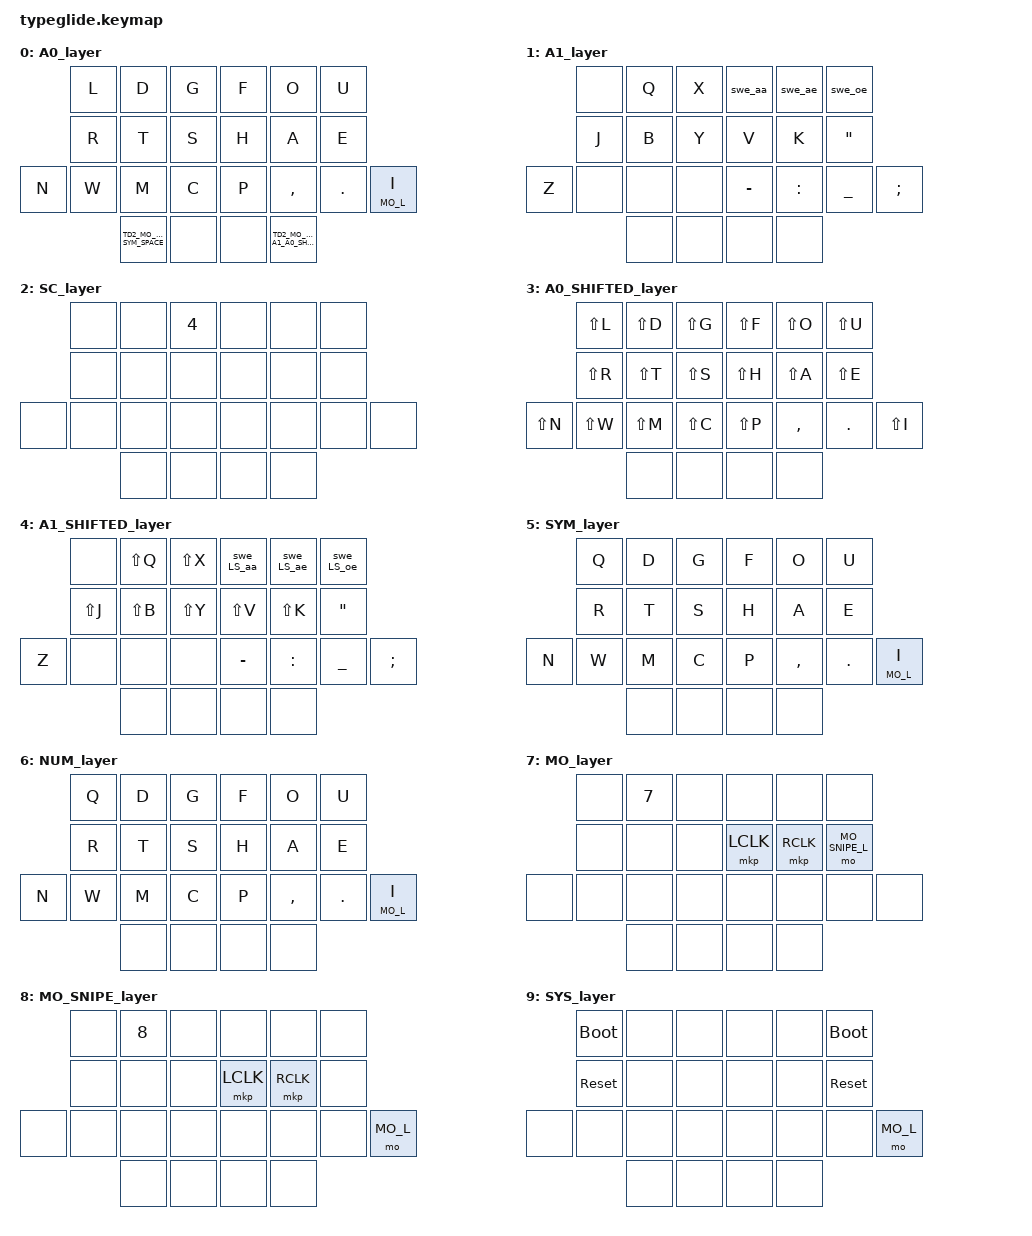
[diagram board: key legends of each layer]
#include <behaviors.dtsi>
#include <dt-bindings/zmk/keys.h>
#include <dt-bindings/zmk/pointing.h>
#include <behaviors/caps_word.dtsi>
#include <keymap_defs.dtsi>


#define RALTKEY(name, key)                                      \
    name: name {                                                \
        compatible = "zmk,behavior-macro";                     \
        #binding-cells = <0>;                                  \
        bindings =                                               \
            <&macro_press &kp RALT>,                            \
            <&macro_tap &kp key>,                              \
            <&macro_release &kp RALT>;                         \
    };


#define COMBO(name, pos0, pos1, behavior, ...) \
    name { \
        timeout-ms = <50>; \
        key-positions = <pos0 pos1>; \
        layers = <__VA_ARGS__>; \
        bindings = <behavior>; \
    };

#define COMBO3(name, pos0, pos1, pos2, t, behavior, ...) \
    name { \
        timeout-ms = <t>; \
        key-positions = <pos0 pos1 pos2>; \
        layers = <__VA_ARGS__>; \
        bindings = <behavior>; \
    };

#define HOLD_TAP(name, flavor_, tap_term, bind0, bind1) \
    name: name { \
        compatible = "zmk,behavior-hold-tap"; \
        #binding-cells = <2>; \
        flavor = flavor_; \
        tapping-term-ms = <tap_term>; \
        bindings = bind0, bind1; \
    };

#define TAP_DANCE2_MO_SL_SL(name, l0, l1, l2) \
    name: name { \
        compatible = "zmk,behavior-tap-dance"; \
        #binding-cells = <0>; \
        tapping-term-ms = <200>; \
        bindings = <&HT_MO_SL_BAL l0 l1>, \
                   <&sl l2>; \
    };

#define TAP_DANCE2_MO_KP_REPEAT(name, layer, key) \
    name: name { \
        compatible = "zmk,behavior-tap-dance"; \
        #binding-cells = <0>; \
        tapping-term-ms = <200>; \
        bindings = <&HT_MO_KP_BAL layer key>, \
                   <&key_repeat>; \
    };

/ {

 //          SIDE:L(left)/R(right)
 //          ROW:T(top)/M(middle)/B(bottom)/M(mouse)
 //          FINGER:P(pinky)/R(ring)/M(middle)/I(index)/T(Thumb)
 //          LOCATION:S(switch)/J(Joystick)
 //
 //          FINGER POS: SIDE-ROW-FINGER
 //          THUMB POS:  SIDE-LOCATION-FINGER
 //
 //          bindings = <
 //               LTR    LTM    LTI                            RTI    RTM   RTR
 //               LMR    LMM    LMI                            RMI    RMM   RMR
 //          LBP  LBR    LBM    LBI                            RBI    RBM   RBR   RBP
 //                             LST      LJT         RJT       RST



    behaviors {

        TPHLS: TPHLS {
            compatible = "zmk,behavior-hold-tap";
            #binding-cells = <2>;
            flavor = "balanced";
            tapping-term-ms = <200>;
            bindings = <&mo>, <&sl>;
        };



        HOLD_TAP(HT_KP_KP_BAL, "balanced", 200, <&kp>, <&kp>)
        HOLD_TAP(HT_MO_SL_BAL, "balanced", 200, <&mo>, <&sl>)
        HOLD_TAP(HT_MO_KP_BAL, "balanced", 200, <&mo>, <&kp>)

        TAP_DANCE2_MO_SL_SL(TD2_MO_SL_SL_SYM_A1_A0_SHIFTED, SYM_L, A1_L, A0_SHIFTED_L)
        TAP_DANCE2_MO_KP_REPEAT(TD2_MO_KP_REPEAT_SYM_SPACE, SYM_L, SPACE)

        tg_caps_word_or_scroll: tg_caps_word_or_scroll {
            compatible = "typeglide,caps-word-or-scroll";
            #binding-cells = <0>;

            bindings = <&msc SCRL_RIGHT>, <&caps_word>;
            mods = <(MOD_LSFT | MOD_RSFT)>;
            timeout-ms = <300>;
        };
    };



    macros {
        RALTKEY(swe_aa, W)
        RALTKEY(swe_ae, A)
        RALTKEY(swe_oe, O)
        RALTKEY(swe_LS_aa, LS(W))
        RALTKEY(swe_LS_ae, LS(A))
        RALTKEY(swe_LS_oe, LS(O))
    };

    combos {
        compatible = "zmk,combos";

        COMBO(_backspace, RMM, RMR, &kp BACKSPACE, A0_L)

        COMBO3(_bootloader_left, LTM, LBR, LBI, 100, &tog SYS_L, ALL_L)

    };

    keymap {
        compatible = "zmk,keymap";


// ------------------------------------------LEFT-------------------------------------------------------<>-----------------------------------------------RIGHT-----------------------------------------------------------------
// Pinky                    Ring                        Middle                      Index               <>      Index                       Middle                      Ring                        Pinky
//------------------------------------------------------------------------------------------------------<>----------------------------------------------------------------------------------------------------------------------
        // 0
        A0_layer {
            bindings = <
                            &kp L                       &kp D                       &kp G                       &kp F                       &kp O                       &kp U
                            &kp R                       &kp T                       &kp S                       &kp H                       &kp A                       &kp E
&kp N                       &kp W                       &kp M                       &kp C                       &kp P                       &kp COMMA                   &kp DOT                     &lt MO_L I
                                                        &TD2_MO_KP_REPEAT_SYM_SPACE &none                       &none                       &TD2_MO_SL_SL_SYM_A1_A0_SHIFTED
            >;
        };

        // 1
        A1_layer {
            bindings = <
                            &none                       &kp Q                       &kp X                       &swe_aa                     &swe_ae                     &swe_oe
                            &kp J                       &kp B                       &kp Y                       &kp V                       &kp K                       &kp DQT
&kp Z                       &none                       &none                       &none                       &kp MINUS                   &kp COLON                   &kp UNDER                   &kp SEMI
                                                        &none                       &none                       &none                       &none
            >;
        };

        // 2
        SC_layer {
            bindings = <
                &none &none &kp N4       &none &none &none
                &none &none &none        &none &none &none
          &none &none &none &none        &none &none &none &none
                      &none &none        &none &none
            >;
        };

        // 3
        A0_SHIFTED_layer {
            bindings = <
                            &kp LS(L)                   &kp LS(D)                   &kp LS(G)                   &kp LS(F)                   &kp LS(O)                   &kp LS(U)
                            &kp LS(R)                   &kp LS(T)                   &kp LS(S)                   &kp LS(H)                   &kp LS(A)                   &kp LS(E)
&kp LS(N)                   &kp LS(W)                   &kp LS(M)                   &kp LS(C)                   &kp LS(P)                   &kp COMMA                   &kp DOT                     &kp LS(I)
                                                        &none                       &none                       &none                       &none
            >;
        };

        // 4
        A1_SHIFTED_layer {
            bindings = <
                            &none                       &kp LS(Q)                   &kp LS(X)                   &swe_LS_aa                  &swe_LS_ae                  &swe_LS_oe
                            &kp LS(J)                   &kp LS(B)                   &kp LS(Y)                   &kp LS(V)                   &kp LS(K)                   &kp DQT
&kp Z                       &none                       &none                       &none                       &kp MINUS                   &kp COLON                   &kp UNDER                   &kp SEMI
                                                        &none                       &none                       &none                       &none
            >;
        };

        // 5
        SYM_layer {
            bindings = <
                            &kp Q                       &kp D                       &kp G                       &kp F                       &kp O                       &kp U
                            &kp R                       &kp T                       &kp S                       &kp H                       &kp A                       &kp E
&kp N                       &kp W                       &kp M                       &kp C                       &kp P                       &kp COMMA                   &kp DOT                     &lt MO_L I
                                                        &none                       &none                       &none                       &none
            >;
        };

        // 6
        NUM_layer {
            bindings = <
                            &kp Q                       &kp D                       &kp G                       &kp F                       &kp O                       &kp U
                            &kp R                       &kp T                       &kp S                       &kp H                       &kp A                       &kp E
&kp N                       &kp W                       &kp M                       &kp C                       &kp P                       &kp COMMA                   &kp DOT                     &lt MO_L I
                                                        &none                       &none                       &none                       &none
            >;
        };


        // 7
        MO_layer {
            bindings = <
                            &none                       &kp N7                      &none                       &none                       &none                       &none
                            &none                       &none                       &none                       &mkp LCLK                   &mkp RCLK                   &mo MO_SNIPE_L
&none                       &none                       &none                       &none                       &none                       &none                       &none                      &none
                                                        &none                       &none                       &none                       &none
            >;
        };


        // 8
        MO_SNIPE_layer {
            bindings = <
                            &none                       &kp N8                      &none                       &none                       &none                       &none
                            &none                       &none                       &none                       &mkp LCLK                   &mkp RCLK                   &none
&none                       &none                       &none                       &none                       &none                       &none                       &none                       &mo MO_L
                                                        &none                       &none                       &none                       &none
            >;
        };


        // 9
        SYS_layer {
            bindings = <
                            &bootloader                 &none                       &none                       &none                       &none                       &bootloader
                            &sys_reset                  &none                       &none                       &none                       &none                       &sys_reset
&none                       &none                       &none                       &none                       &none                       &none                       &none                       &mo MO_L
                                                        &none                       &none                       &none                       &none
            >;
        };


    };

};

&caps_word {
    continue-list = <SPACE UNDERSCORE BSPC DEL>;
};
